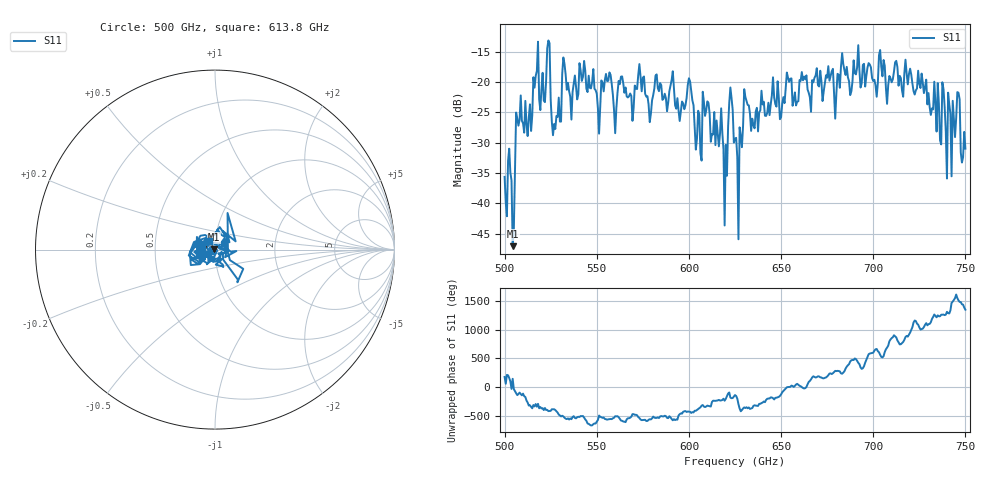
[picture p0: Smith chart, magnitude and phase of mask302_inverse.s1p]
!Created with skrf (http://scikit-rf.org).
# GHz S MA R 50.0
!freq magS11 angS11
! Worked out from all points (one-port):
!   401 points, 500 GHz to 750 GHz, reference 50 ohm
!   lowest |S11| = -47.1 dB at 504.4 GHz (marker M1), VSWR 1.01, Z = 49.6 + j0.245 ohm
!   |S11| at or under -10 dB: start of sweep to end of sweep
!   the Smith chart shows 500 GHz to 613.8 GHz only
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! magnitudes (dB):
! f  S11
! 500 GHz  -35.6
! 504.4 GHz  -47.1
! 507.5 GHz  -27.2
! 513.8 GHz  -23.7
! 516.9 GHz  -19.0
! 520.6 GHz  -18.5
! 523.8 GHz  -13.1
! 526.9 GHz  -26.9
! 531.2 GHz  -18.7
! 550.6 GHz  -24.3
! 556.2 GHz  -19.8
! 560 GHz  -28.4
! 562.5 GHz  -20.3
! 593.8 GHz  -22.6
! 600.6 GHz  -19.9
! 605.6 GHz  -25.3
! 608.8 GHz  -25.6
! 619.4 GHz  -43.7
! 622.5 GHz  -20.9
! 625 GHz  -29.3
! 627.5 GHz  -27.4
! 631.2 GHz  -23.1
! 656.2 GHz  -23.9
! 687.5 GHz  -22.1
! 718.8 GHz  -20.4
! 741.2 GHz  -23.6
! 745.6 GHz  -21.6
! 750 GHz  -31.0
